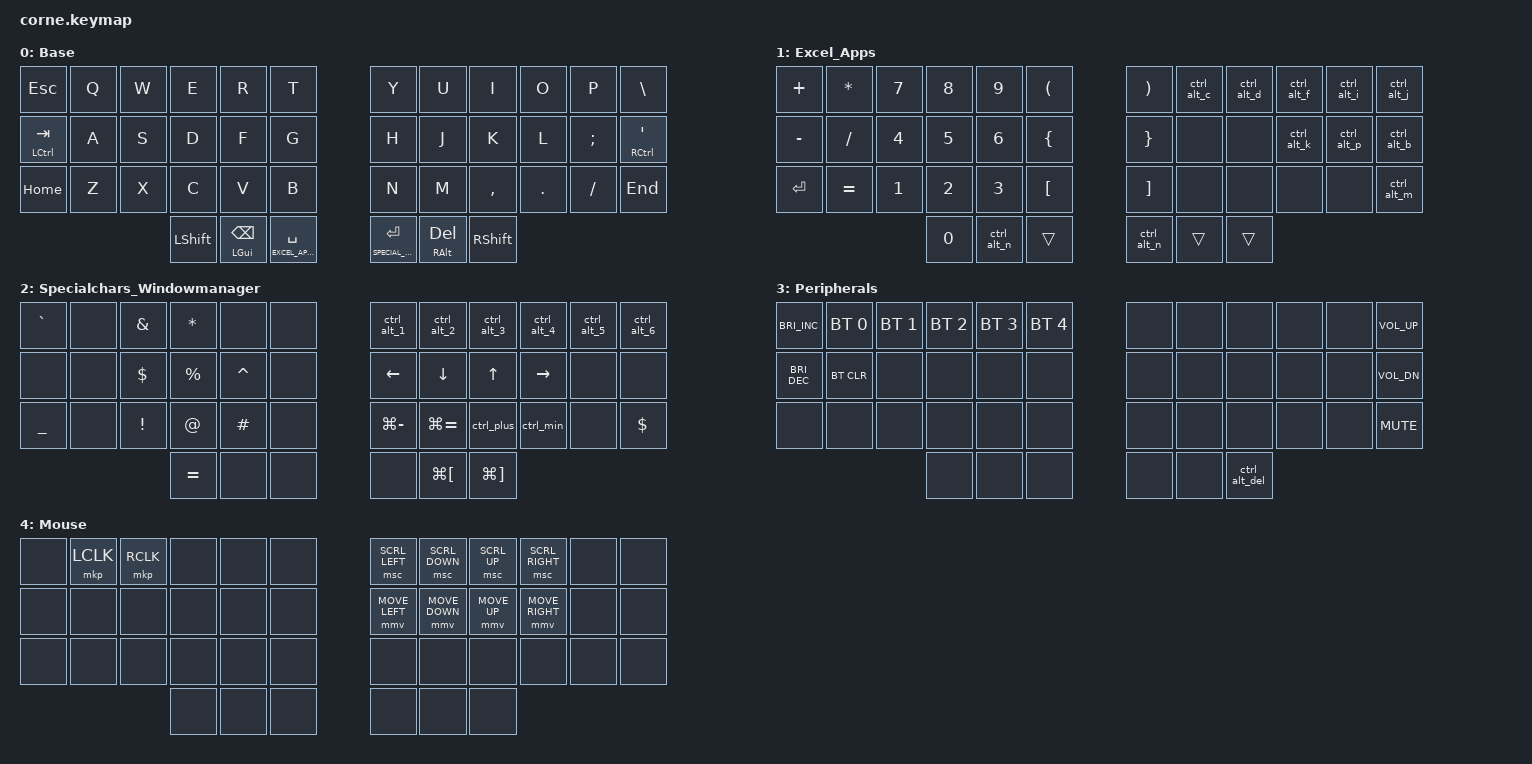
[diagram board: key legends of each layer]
/*
 * Copyright (c) 2020 The ZMK Contributors
 *
 * SPDX-License-Identifier: MIT
 */

#include <behaviors.dtsi>
#include <dt-bindings/zmk/keys.h>
#include <dt-bindings/zmk/bt.h>

#define ZMK_POINTING_DEFAULT_MOVE_VAL 1500  // default: 600
#define ZMK_POINTING_DEFAULT_SCRL_VAL 20    // default: 10

#include <dt-bindings/zmk/pointing.h>

#define DEFAULT 0
#define EXCEL_APPS   1
#define SPECIAL_WINDOWS   2
#define PERIPHERALS   3
#define MOUSE   4


/ {
    combos {
        compatible = "zmk,combos";
/*        combo_ctrl_plus {
            timeout-ms = <50>;
            key-positions = <0 1>;
            bindings = <&ctrl_plus>;
        };
        combo_ctrl_min {
            timeout-ms = <50>;
            key-positions = <12 13>;
            bindings = <&ctrl_min>;
        };
*/
/*
        homerowmod_1_ad {
            timeout-ms = <50>;
            key-positions = <13 15>;
            bindings = <&mo PERIPHERALS>;
        };
        homerowmod_2_sf {
            timeout-ms = <50>;
            key-positions = <14 16>;
            bindings = <&kp LGUI>;
        };
        homerowmod_1_hk {
            timeout-ms = <50>;
            key-positions = <18 20>;
            bindings = <&mo PERIPHERALS>;
        };
        homerowmod_2_jl{
            timeout-ms = <50>;
            key-positions = <19 21>;
            bindings = <&kp RGUI>;
        };
*/
        thumb_1_2 {
            timeout-ms = <50>;
            key-positions = <36 37>;
            bindings = <&mo MOUSE>;
        };
        thumb_4_5 {
            timeout-ms = <50>;
            key-positions = <39 40>;
            bindings = <&mo PERIPHERALS>;
        }; 
    };
};


/ {
    macros {
        zed_em_kay: zed_em_kay {
            compatible = "zmk,behavior-macro";
            #binding-cells = <0>;
            bindings
                = <&macro_press &kp LSHFT>
                , <&macro_tap &kp Z &kp M &kp K>
                , <&macro_release &kp LSHFT>
                ;
        };
        gui_min: gui_min {
            compatible = "zmk,behavior-macro";
            #binding-cells = <0>;
            bindings
                = <&macro_press &kp RGUI>
                , <&macro_tap &kp MINUS>
                , <&macro_release &kp RGUI>
                ;
            };
        gui_plus: gui_plus {
            compatible = "zmk,behavior-macro";
            #binding-cells = <0>;
            bindings
                = <&macro_press &kp RGUI>
                , <&macro_tap &kp EQUAL>
                , <&macro_release &kp RGUI>
                ;
            };
        ctrl_min: ctrl_min {
            compatible = "zmk,behavior-macro";
            #binding-cells = <0>;
            bindings
                = <&macro_press &kp RCTRL>
                , <&macro_tap &kp MINUS>
                , <&macro_release &kp RCTRL>
                ;
            };
        ctrl_plus: ctrl_plus {
            compatible = "zmk,behavior-macro";
            #binding-cells = <0>;
            bindings
                = <&macro_press &kp RCTRL>
                , <&macro_tap &kp PLUS>
                , <&macro_release &kp RCTRL>
                ;
            };
        ctrl_alt_del: ctrl_alt_del {
            compatible = "zmk,behavior-macro";
            #binding-cells = <0>;
            bindings
                = <&macro_press &kp LCTRL>
                , <&macro_press &kp LALT>
                , <&macro_tap &kp DEL>
                , <&macro_release &kp LCTRL>
                , <&macro_release &kp LALT>
                ;
        };

        ctrl_alt_b: ctrl_alt_b {
            compatible = "zmk,behavior-macro";
            #binding-cells = <0>;
            bindings
                = <&macro_press &kp LCTRL>
                , <&macro_press &kp LALT>
                , <&macro_tap &kp B>
                , <&macro_release &kp LCTRL>
                , <&macro_release &kp LALT>
                ;
        };

        ctrl_alt_c: ctrl_alt_c {
            compatible = "zmk,behavior-macro";
            #binding-cells = <0>;
            bindings
                = <&macro_press &kp LCTRL>
                , <&macro_press &kp LALT>
                , <&macro_tap &kp C>
                , <&macro_release &kp LCTRL>
                , <&macro_release &kp LALT>
                ;
        };

        ctrl_alt_d: ctrl_alt_d {
            compatible = "zmk,behavior-macro";
            #binding-cells = <0>;
            bindings
                = <&macro_press &kp LCTRL>
                , <&macro_press &kp LALT>
                , <&macro_tap &kp D>
                , <&macro_release &kp LCTRL>
                , <&macro_release &kp LALT>
                ;
        };

        ctrl_alt_f: ctrl_alt_f {
            compatible = "zmk,behavior-macro";
            #binding-cells = <0>;
            bindings
                = <&macro_press &kp LCTRL>
                , <&macro_press &kp LALT>
                , <&macro_tap &kp F>
                , <&macro_release &kp LCTRL>
                , <&macro_release &kp LALT>
                ;
        };

        ctrl_alt_i: ctrl_alt_i {
            compatible = "zmk,behavior-macro";
            #binding-cells = <0>;
            bindings
                = <&macro_press &kp LCTRL>
                , <&macro_press &kp LALT>
                , <&macro_tap &kp I>
                , <&macro_release &kp LCTRL>
                , <&macro_release &kp LALT>
                ;
        };

ctrl_alt_j: ctrl_alt_j {
            compatible = "zmk,behavior-macro";
            #binding-cells = <0>;
            bindings
                = <&macro_press &kp LCTRL>
                , <&macro_press &kp LALT>
                , <&macro_tap &kp J>
                , <&macro_release &kp LCTRL>
                , <&macro_release &kp LALT>
                ;
        };

        ctrl_alt_k: ctrl_alt_k {
            compatible = "zmk,behavior-macro";
            #binding-cells = <0>;
            bindings
                = <&macro_press &kp LCTRL>
                , <&macro_press &kp LALT>
                , <&macro_tap &kp K>
                , <&macro_release &kp LCTRL>
                , <&macro_release &kp LALT>
                ;
        };

         ctrl_alt_n: ctrl_alt_n {
            compatible = "zmk,behavior-macro";
            #binding-cells = <0>;
            bindings
                = <&macro_press &kp LCTRL>
                , <&macro_press &kp LALT>
                , <&macro_tap &kp N>
                , <&macro_release &kp LCTRL>
                , <&macro_release &kp LALT>
                ;
        };

        ctrl_alt_m: ctrl_alt_m {
            compatible = "zmk,behavior-macro";
            #binding-cells = <0>;
            bindings
                = <&macro_press &kp LCTRL>
                , <&macro_press &kp LALT>
                , <&macro_tap &kp M>
                , <&macro_release &kp LCTRL>
                , <&macro_release &kp LALT>
                ;
        };

        ctrl_alt_p: ctrl_alt_p {
            compatible = "zmk,behavior-macro";
            #binding-cells = <0>;
            bindings
                = <&macro_press &kp LCTRL>
                , <&macro_press &kp LALT>
                , <&macro_tap &kp P>
                , <&macro_release &kp LCTRL>
                , <&macro_release &kp LALT>
                ;
        };

        ctrl_alt_1: ctrl_alt_1 {
            compatible = "zmk,behavior-macro";
            #binding-cells = <0>;
            bindings
                = <&macro_press &kp LCTRL>
                , <&macro_press &kp LALT>
                , <&macro_tap &kp N1>
                , <&macro_release &kp LCTRL>
                , <&macro_release &kp LALT>
                ;
        };

        ctrl_alt_2: ctrl_alt_2 {
            compatible = "zmk,behavior-macro";
            #binding-cells = <0>;
            bindings
                = <&macro_press &kp LCTRL>
                , <&macro_press &kp LALT>
                , <&macro_tap &kp N2>
                , <&macro_release &kp LCTRL>
                , <&macro_release &kp LALT>
                ;
        };

         ctrl_alt_3: ctrl_alt_3 {
            compatible = "zmk,behavior-macro";
            #binding-cells = <0>;
            bindings
                = <&macro_press &kp LCTRL>
                , <&macro_press &kp LALT>
                , <&macro_tap &kp N3>
                , <&macro_release &kp LCTRL>
                , <&macro_release &kp LALT>
                ;
        };

 ctrl_alt_4: ctrl_alt_4 {
            compatible = "zmk,behavior-macro";
            #binding-cells = <0>;
            bindings
                = <&macro_press &kp LCTRL>
                , <&macro_press &kp LALT>
                , <&macro_tap &kp N4>
                , <&macro_release &kp LCTRL>
                , <&macro_release &kp LALT>
                ;
        };

 ctrl_alt_5: ctrl_alt_5 {
            compatible = "zmk,behavior-macro";
            #binding-cells = <0>;
            bindings
                = <&macro_press &kp LCTRL>
                , <&macro_press &kp LALT>
                , <&macro_tap &kp N5>
                , <&macro_release &kp LCTRL>
                , <&macro_release &kp LALT>
                ;
        };

 ctrl_alt_6: ctrl_alt_6 {
            compatible = "zmk,behavior-macro";
            #binding-cells = <0>;
            bindings
                = <&macro_press &kp LCTRL>
                , <&macro_press &kp LALT>
                , <&macro_tap &kp N6>
                , <&macro_release &kp LCTRL>
                , <&macro_release &kp LALT>
                ;
        };

    };
};



&mt {
    tapping-term-ms = <200>;
    flavor = "balanced";
};

/ {
        keymap {
                compatible = "zmk,keymap";

                default_layer {
                  display-name = "Base";
                        bindings = <
   &kp ESC    &kp Q &kp W       &kp E      &kp R      &kp T   &kp Y &kp U      &kp I          &kp O         &kp P    &kp BSLH
   &mt LCTRL TAB &kp A &kp S &kp D &kp F &kp G   &kp H &kp J  &kp K     &kp L   &kp SEMI &mt RCTRL SQT
   &kp HOME     &kp Z &kp X       &kp C      &kp V      &kp B  &kp N &kp M      &kp COMMA      &kp DOT       &kp FSLH &kp END 
                  &kp LSHIFT &mt LGUI BSPC &lt EXCEL_APPS SPACE   &lt SPECIAL_WINDOWS RET &mt RALT DEL &kp RSHIFT
>;
                };
                lower_layer {
              display-name = "Excel_Apps";
                        bindings = <
 &kp PLUS    &kp ASTRK &kp N7 &kp N8 &kp N9 &kp LPAR  &kp RPAR  &ctrl_alt_c  &ctrl_alt_d &ctrl_alt_f    &ctrl_alt_i &ctrl_alt_j
   &kp MINUS   &kp FSLH  &kp N4 &kp N5 &kp N6 &kp LEFT_BRACE  &kp RIGHT_BRACE  &none &none &ctrl_alt_k &ctrl_alt_p   &ctrl_alt_b
   &kp RET     &kp EQUAL   &kp N1 &kp N2 &kp N3 &kp LEFT_BRACKET &kp RIGHT_BRACKET &none  &none  &none    &none &ctrl_alt_m
                                &kp N0    &ctrl_alt_n       &trans      &ctrl_alt_n  &trans   &trans
                        >;
                };
                middle_layer {
              display-name = "Specialchars_Windowmanager";
                        bindings = <
   &kp GRAVE  &none &kp AMPERSAND &kp ASTRK &none &none   &ctrl_alt_1 &ctrl_alt_2  &ctrl_alt_3 &ctrl_alt_4 &ctrl_alt_5 &ctrl_alt_6
   &none &none       &kp DOLLAR       &kp PERCENT       &kp CARET      &none         &kp LEFT &kp DOWN &kp UP  &kp RIGHT &none &none
   &kp UNDERSCORE &none   &kp EXCLAMATION &kp AT    &kp HASH   &none      &kp LG(MINUS) &kp LG(EQUAL)   &ctrl_plus &ctrl_min &none &kp DOLLAR  
                             &kp EQUAL &none   &none   &none  &kp LG(LEFT_BRACKET)  &kp LG(RIGHT_BRACKET)
                        >;
                };
                raise_layer {
              display-name = "Peripherals";
                        bindings = <
   &kp C_BRIGHTNESS_INC  &bt BT_SEL 0 &bt BT_SEL 1 &bt BT_SEL 2 &bt BT_SEL 3 &bt BT_SEL 4   &none &none  &none &none &none &kp K_VOL_UP
   &kp C_BRIGHTNESS_DEC  &bt BT_CLR       &none       &none       &none       &none         &none  &none &none &none &none &kp K_VOL_DN
   &none &none   &none &none   &none   &none      &none &none  &none  &none &none &kp K_MUTE
                             &none &none   &none   &none   &none   &ctrl_alt_del
                        >;
                };
                mouse {
              display-name = "Mouse";
                        bindings = <
 &none   &mkp LCLK &mkp RCLK &none &none &none  &msc SCRL_LEFT  &msc SCRL_DOWN  &msc SCRL_UP &msc SCRL_RIGHT    &none &none
   &none   &none  &none &none &none &none  &mmv MOVE_LEFT  &mmv MOVE_DOWN &mmv MOVE_UP &mmv MOVE_RIGHT &none &none
   &none     &none   &none &none &none &none &none &none  &none  &none    &none &none
                                &none    &none       &none      &none  &none   &none
                        >;
                };
        };
};
